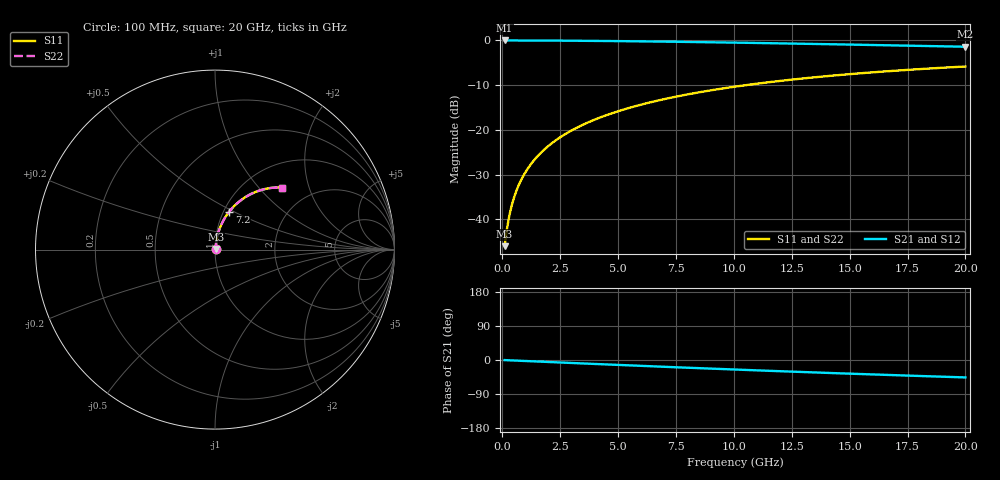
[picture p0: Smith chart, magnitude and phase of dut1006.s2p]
! Touchstone file exported from HFSS 2026.1.0
!  File:  C:/ffzhzh/LocalFiles/Ansys_Project_Files/temp_train_TMRDL_1006_1783159611_18472.aedt
!  Generated:  06:08:10 PM Jul  4, 2026
!  Design:  TMRDL
!  Project:  temp_train_TMRDL_1006_1783159611_18472
! Variables:
!  h_bsmrdl = 2um
!  h_ox = 20um
!  h_rdl = 5um
!  h_sub = 80um
!  h_tmrdl = 4.61um
!  h_tsv = 80um
!  h_via = 3um
!  l_bsmrdl = 300um
!  l_sub = 1011.37um
!  l_tmrdl = 611.37um
!  m_sub = 200um
!  pitch = 52.94um
!  r_tsv = 6um
!  s_tmrdl = 10um
!  w_bsmrdl = 18um
!  w_sub = 500um
!  w_tmrdl = 12.99um
!  x_tsv_center1 = 617.865um
!  x_tsv_center2 = 935.865um
!  x_tsv_center3 = 1560.225um
!  x_tsv_center4 = 1878.225um
!  x_tsv_center5 = 2502.585um
!  x_tsv_center6 = 2820.585um
# GHz S MA R 50.000000
! Terminal data exported
! Port[1] = TM_RDL1_1_T1
! Port[2] = TM_RDL1_1_T2
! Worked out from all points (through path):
!   200 points, 100 MHz to 20 GHz, reference 50 ohm
!   highest |S21| = -0.03 dB at 100 MHz (marker M1); lowest = -1.4 dB at 20 GHz (marker M2)
!   group delay of S21, straight-line fit = 6.39 ps
!   lowest |S11| = -46.0 dB at 100 MHz (marker M3), VSWR 1.01, Z = 50.4 + j0.345 ohm
!   |S11| at or under -10 dB: start of sweep to 10.53 GHz
!   |S22| runs from -46.0 to -5.8 dB; largest |S21 - S12| = 2e-15
!   S11 on the Smith chart (normalised r, x): 100 MHz: 1.01, +0.01; 7.2 GHz: 1.06, +0.48; 20 GHz: 1.45, +1.36
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0.1  0.005034 42.9  0.9963 -0.3  0.9963 -0.3  0.005034 42.9
! Gamma 0 0 0 0
! Port Impedance 50 0 50 0
0.2  0.007814 60.8  0.9962 -0.5  0.9962 -0.5  0.007814 60.8
0.3  0.01092 68.7  0.9961 -0.8  0.9961 -0.8  0.01092 68.7
0.4  0.01412 72.9  0.996 -1.1  0.996 -1.1  0.01412 72.9
0.5  0.01736 75.4  0.9959 -1.3  0.9959 -1.3  0.01736 75.4
0.6  0.02061 77.1  0.9958 -1.6  0.9958 -1.6  0.02061 77.1
0.8  0.02714 79.1  0.9955 -2.1  0.9955 -2.1  0.02714 79.1
1.1  0.03698 80.4  0.995 -2.9  0.995 -2.9  0.03698 80.4
1.5  0.05011 80.9  0.9943 -4.0  0.9943 -4.0  0.05011 80.9
1.8  0.05993 80.8  0.9936 -4.8  0.9936 -4.8  0.05993 80.8
2.1  0.06972 80.5  0.9928 -5.5  0.9928 -5.5  0.06973 80.5
2.7  0.08918 79.5  0.9908 -7.1  0.9908 -7.1  0.08918 79.5
3.5  0.1148 77.9  0.9876 -9.2  0.9876 -9.2  0.1148 77.9
4.2  0.1368 76.4  0.9843 -11.0  0.9843 -11.0  0.1368 76.4
5  0.1614 74.5  0.9799 -13.0  0.9799 -13.0  0.1615 74.5
6.8  0.215 70.3  0.9683 -17.5  0.9683 -17.5  0.215 70.3
7.2  0.2265 69.4  0.9654 -18.4  0.9654 -18.4  0.2265 69.4
8.6  0.2655 66.2  0.9547 -21.8  0.9547 -21.8  0.2655 66.2
10.1  0.3053 62.8  0.9421 -25.3  0.9421 -25.3  0.3053 62.8
13.4  0.3847 55.6  0.9118 -32.7  0.9118 -32.7  0.3847 55.6
16.7  0.4529 48.9  0.8797 -39.6  0.8797 -39.6  0.4529 48.9
20  0.5103 42.7  0.8478 -46.0  0.8478 -46.0  0.5103 42.7
